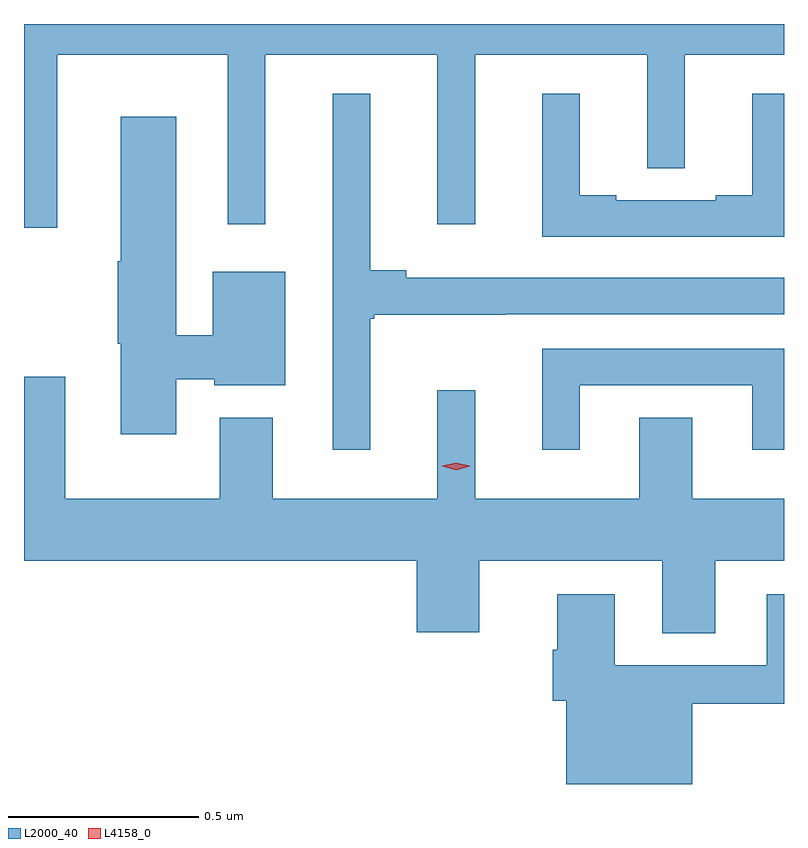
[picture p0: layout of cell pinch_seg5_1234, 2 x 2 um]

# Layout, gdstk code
import gdstk
lib = gdstk.Library(unit=1e-6, precision=1e-09)
def P(c, l, *ps):  # polygons
    for p in ps: c.add(gdstk.Polygon(p, *l))
L2000_40 = (2000, 40)
L4158_0 = (4158, 0)

pinch_seg5_1234 = lib.new_cell('pinch_seg5_1234')
P(pinch_seg5_1234, L2000_40, [(548.126,894.942),(548.225,894.942),(548.225,895.388),(548.678,895.388),(548.678,894.942),(548.777,894.942),(548.777,895.388),(549.23,895.388),(549.23,895.09),(549.329,895.09),(549.329,895.388),(549.59,895.388),(549.59,895.469),(547.59,895.469),(547.59,894.933),(547.678,894.933),(547.678,895.388),(548.126,895.388)],
  [(549.59,895.285),(549.506,895.285),(549.506,895.018),(549.41,895.018),(549.41,895.005),(549.148,895.005),(549.148,895.018),(549.053,895.018),(549.053,895.285),(548.954,895.285),(548.954,894.909),(549.59,894.909)],
  [(548.501,894.693),(548.512,894.693),(548.512,894.704),(548.858,894.704),(548.858,894.705),(549.59,894.705),(549.59,894.801),(548.596,894.801),(548.596,894.821),(548.501,894.821),(548.501,895.285),(548.402,895.285),(548.402,894.898),(548.403,894.898),(548.403,894.348),(548.501,894.348)],
  [(547.99,894.534),(548.091,894.534),(548.091,894.518),(548.278,894.518),(548.278,894.817),(548.087,894.817),(548.087,894.65),(547.99,894.65),(547.99,895.225),(547.844,895.225),(547.844,894.845),(547.837,894.845),(547.837,894.627),(547.844,894.627),(547.844,894.39),(547.99,894.39)],
  [(549.052,894.519),(549.506,894.519),(549.506,894.348),(549.59,894.348),(549.59,894.615),(548.954,894.615),(548.954,894.348),(549.052,894.348)],
  [(549.409,894.056),(549.59,894.056),(549.59,894.22),(549.349,894.22),(549.349,894.433),(549.209,894.433),(549.209,894.22),(548.777,894.22),(548.777,894.505),(548.678,894.505),(548.678,894.22),(548.245,894.22),(548.245,894.433),(548.105,894.433),(548.105,894.22),(547.699,894.22),(547.699,894.541),(547.59,894.541),(547.59,894.056),(548.624,894.056),(548.624,893.868),(548.788,893.868),(548.788,894.056),(549.269,894.056),(549.269,893.866),(549.409,893.866)],
  [(549.349,893.68),(549.59,893.68),(549.59,893.968),(549.545,893.968),(549.545,893.781),(549.145,893.781),(549.145,893.968),(548.993,893.968),(548.993,893.822),(548.981,893.822),(548.981,893.688),(549.017,893.688),(549.017,893.469),(549.349,893.469)])
P(pinch_seg5_1234, L4158_0, [(548.727,894.295),(548.691,894.305),(548.691,894.305),(548.691,894.306),(548.727,894.315),(548.763,894.306),(548.763,894.305),(548.763,894.305)])

lib.write_gds('pinch_seg5_1234.gds')
